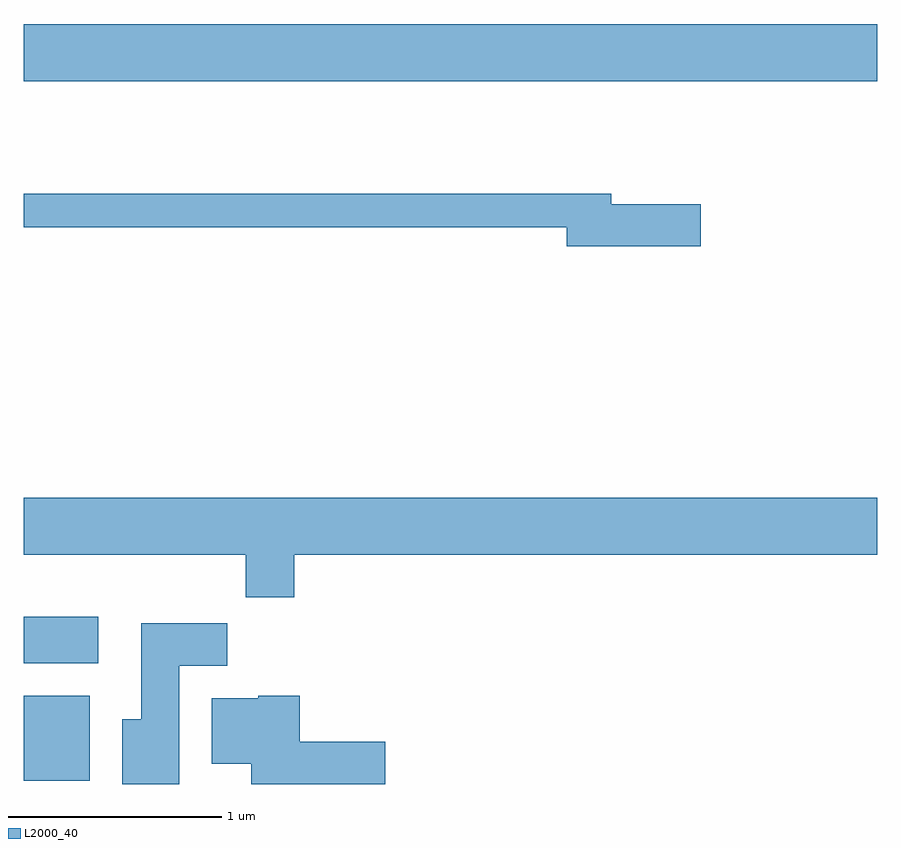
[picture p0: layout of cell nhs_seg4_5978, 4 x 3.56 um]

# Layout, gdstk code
import gdstk
lib = gdstk.Library(unit=1e-6, precision=1e-09)
def R(c, l, rs):  # rectangles x0, y0, x1, y1
    for r in rs: c.add(gdstk.rectangle(r[:2], r[2:], *l))
def P(c, l, *ps):  # polygons
    for p in ps: c.add(gdstk.Polygon(p, *l))
L2000_40 = (2000, 40)

nhs_seg4_5978 = lib.new_cell('nhs_seg4_5978')
R(nhs_seg4_5978, L2000_40, [(359.611,1378.036,359.919,1378.434), (359.611,1378.586,359.959,1378.804), (359.611,1381.316,363.611,1381.584)])
P(nhs_seg4_5978, L2000_40, [(362.784,1380.739),(362.364,1380.739),(362.364,1380.789),(359.611,1380.789),(359.611,1380.631),(362.156,1380.631),(362.156,1380.541),(362.784,1380.541)],
  [(360.879,1379.096),(363.611,1379.096),(363.611,1379.364),(359.611,1379.364),(359.611,1379.096),(360.651,1379.096),(360.651,1378.896),(360.879,1378.896)],
  [(360.339,1378.576),(360.564,1378.576),(360.564,1378.774),(360.161,1378.774),(360.161,1378.324),(360.071,1378.324),(360.071,1378.021),(360.339,1378.021)],
  [(361.304,1378.219),(360.904,1378.219),(360.904,1378.434),(360.71,1378.434),(360.71,1378.424),(360.491,1378.424),(360.491,1378.116),(360.676,1378.116),(360.676,1378.021),(361.304,1378.021)])

lib.write_gds('nhs_seg4_5978.gds')
